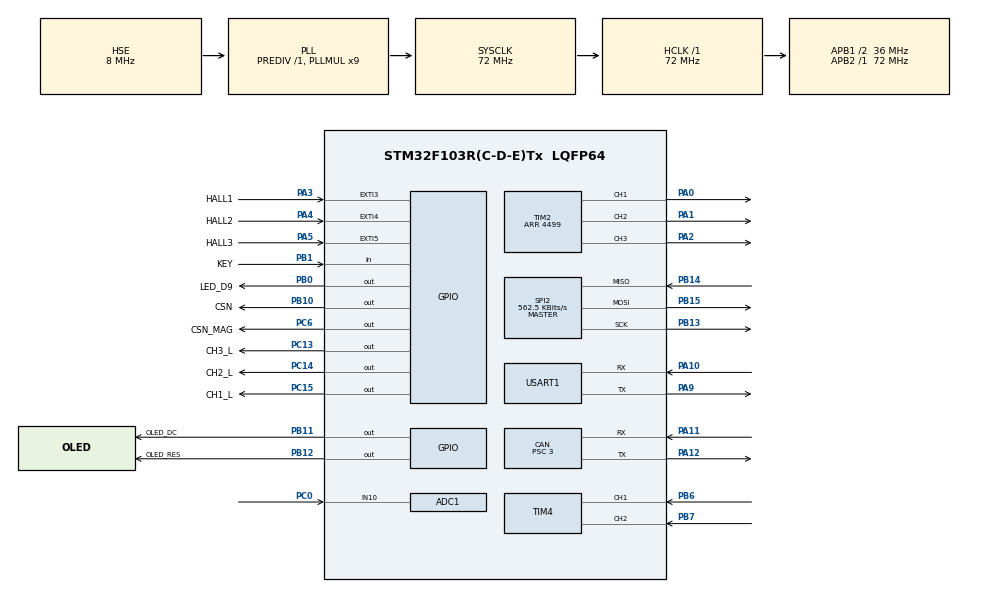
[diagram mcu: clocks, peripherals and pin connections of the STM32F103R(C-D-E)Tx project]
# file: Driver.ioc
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ADC1.Channel-0\#ChannelRegularConversion=ADC_CHANNEL_10
ADC1.NbrOfConversionFlag=1
ADC1.Rank-0\#ChannelRegularConversion=1
ADC1.SamplingTime-0\#ChannelRegularConversion=ADC_SAMPLETIME_1CYCLE_5
ADC1.master=1
CAN.ABOM=ENABLE
CAN.BS1=CAN_BS1_9TQ
CAN.BS2=CAN_BS2_2TQ
CAN.CalculateTimeBit=1000
CAN.CalculateTimeQuantum=83.33333333333334
CAN.Prescaler=3
CAN.TXFP=ENABLE
Dma.Request0=USART1_RX
Dma.Request1=USART1_TX
Dma.USART1_RX.0.Direction=DMA_PERIPH_TO_MEMORY
Dma.USART1_RX.0.Instance=DMA1_Channel5
Dma.USART1_RX.0.MemDataAlignment=DMA_MDATAALIGN_BYTE
Dma.USART1_RX.0.MemInc=DMA_MINC_ENABLE
Dma.USART1_RX.0.Mode=DMA_NORMAL
Dma.USART1_RX.0.PeriphDataAlignment=DMA_PDATAALIGN_BYTE
Dma.USART1_RX.0.PeriphInc=DMA_PINC_DISABLE
Dma.USART1_RX.0.Priority=DMA_PRIORITY_LOW
Dma.USART1_TX.1.Direction=DMA_MEMORY_TO_PERIPH
Dma.USART1_TX.1.Instance=DMA1_Channel4
Dma.USART1_TX.1.MemDataAlignment=DMA_MDATAALIGN_BYTE
Dma.USART1_TX.1.MemInc=DMA_MINC_ENABLE
Dma.USART1_TX.1.Mode=DMA_NORMAL
Dma.USART1_TX.1.PeriphDataAlignment=DMA_PDATAALIGN_BYTE
Dma.USART1_TX.1.PeriphInc=DMA_PINC_DISABLE
Dma.USART1_TX.1.Priority=DMA_PRIORITY_VERY_HIGH
Mcu.Family=STM32F1
Mcu.Name=STM32F103R(C-D-E)Tx
Mcu.Package=LQFP64
NVIC.DMA1_Channel4_IRQn=true\:0\:0\:false\:false\:true\:false
NVIC.DMA1_Channel5_IRQn=true\:0\:0\:false\:false\:true\:false
NVIC.EXTI3_IRQn=true\:1\:0\:true\:true\:true\:1\:true
NVIC.EXTI4_IRQn=true\:1\:0\:true\:true\:true\:2\:true
NVIC.EXTI9_5_IRQn=true\:1\:0\:true\:true\:true\:4\:true
NVIC.PriorityGroup=NVIC_PRIORITYGROUP_4
NVIC.TIM6_IRQn=true\:0\:0\:false\:true\:true\:6\:true
NVIC.USART1_IRQn=true\:1\:0\:true\:true\:true\:5\:true
NVIC.USB_LP_CAN1_RX0_IRQn=true\:1\:0\:true\:true\:true\:3\:true
PA0-WKUP.Signal=S_TIM2_CH1_ETR
PA1.Signal=S_TIM2_CH2
PA10.Mode=Asynchronous
PA10.Signal=USART1_RX
PA11.Mode=Master
PA11.Signal=CAN_RX
PA12.Mode=Master
PA12.Signal=CAN_TX
PA13.Mode=Serial_Wire
PA13.Signal=SYS_JTMS-SWDIO
PA14.Mode=Serial_Wire
PA14.Signal=SYS_JTCK-SWCLK
PA2.Signal=S_TIM2_CH3
PA3.GPIO_Label=HALL1
PA3.GPIO_ModeDefaultEXTI=GPIO_MODE_IT_RISING_FALLING
PA3.Signal=GPXTI3
PA4.GPIO_Label=HALL2
PA4.GPIO_ModeDefaultEXTI=GPIO_MODE_IT_RISING_FALLING
PA4.Signal=GPXTI4
PA5.GPIO_Label=HALL3
PA5.GPIO_ModeDefaultEXTI=GPIO_MODE_IT_RISING_FALLING
PA5.Signal=GPXTI5
PA9.Mode=Asynchronous
PA9.Signal=USART1_TX
PB0.GPIO_Label=LED_D9
PB0.Signal=GPIO_Output
PB1.GPIO_Label=KEY
PB1.GPIO_PuPd=GPIO_PULLUP
PB1.Signal=GPIO_Input
PB10.GPIO_Label=CSN
PB10.Signal=GPIO_Output
PB11.GPIO_Label=OLED_DC
PB11.Signal=GPIO_Output
PB12.GPIO_Label=OLED_RES
PB12.Signal=GPIO_Output
PB13.Mode=Full_Duplex_Master
PB13.Signal=SPI2_SCK
PB14.Mode=Full_Duplex_Master
PB14.Signal=SPI2_MISO
PB15.Mode=Full_Duplex_Master
PB15.Signal=SPI2_MOSI
PB6.Signal=S_TIM4_CH1
PB7.Signal=S_TIM4_CH2
PC0.Signal=ADCx_IN10
PC13-TAMPER-RTC.GPIO_Label=CH3_L
PC13-TAMPER-RTC.Signal=GPIO_Output
PC14-OSC32_IN.GPIO_Label=CH2_L
PC14-OSC32_IN.Signal=GPIO_Output
PC15-OSC32_OUT.GPIO_Label=CH1_L
PC15-OSC32_OUT.Signal=GPIO_Output
PC6.GPIO_Label=CSN_MAG
PC6.Signal=GPIO_Output
PD0-OSC_IN.Mode=HSE-External-Oscillator
PD0-OSC_IN.Signal=RCC_OSC_IN
PD1-OSC_OUT.Mode=HSE-External-Oscillator
PD1-OSC_OUT.Signal=RCC_OSC_OUT
ProjectManager.HeapSize=0x200
ProjectManager.StackSize=0x400
ProjectManager.TargetToolchain=EWARM
RCC.ADCPresc=RCC_ADCPCLK2_DIV6
RCC.AHBFreq_Value=72000000
RCC.APB1CLKDivider=RCC_HCLK_DIV2
RCC.APB1Freq_Value=36000000
RCC.APB1TimFreq_Value=72000000
RCC.APB2Freq_Value=72000000
RCC.APB2TimFreq_Value=72000000
RCC.HCLKFreq_Value=72000000
RCC.PLLMUL=RCC_PLL_MUL9
RCC.PLLSourceVirtual=RCC_PLLSOURCE_HSE
RCC.SYSCLKFreq_VALUE=72000000
RCC.SYSCLKSource=RCC_SYSCLKSOURCE_PLLCLK
RCC.USBFreq_Value=72000000
SH.ADCx_IN10.0=ADC1_IN10,IN10
SH.S_TIM2_CH1_ETR.0=TIM2_CH1,PWM Generation1 CH1
SH.S_TIM2_CH2.0=TIM2_CH2,PWM Generation2 CH2
SH.S_TIM2_CH3.0=TIM2_CH3,PWM Generation3 CH3
SH.S_TIM4_CH1.0=TIM4_CH1,Encoder_Interface
SH.S_TIM4_CH2.0=TIM4_CH2,Encoder_Interface
SPI2.BaudRatePrescaler=SPI_BAUDRATEPRESCALER_64
SPI2.CLKPhase=SPI_PHASE_2EDGE
SPI2.CalculateBaudRate=562.5 KBits/s
SPI2.DataSize=SPI_DATASIZE_16BIT
SPI2.Direction=SPI_DIRECTION_2LINES
SPI2.Mode=SPI_MODE_MASTER
SPI2.VirtualType=VM_MASTER
TIM2.Channel-PWM\ Generation1\ CH1=TIM_CHANNEL_1
TIM2.Channel-PWM\ Generation2\ CH2=TIM_CHANNEL_2
TIM2.Channel-PWM\ Generation3\ CH3=TIM_CHANNEL_3
TIM2.Period=4499
TIM6.Period=999
TIM6.Prescaler=71
TIM7.Period=999
TIM7.Prescaler=71
USART1.VirtualMode=VM_ASYNC
VP_TIM6_VS_ClockSourceINT.Mode=Enable_Timer
VP_TIM7_VS_ClockSourceINT.Mode=Enable_Timer
board=source

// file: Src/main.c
/**
  ******************************************************************************
  * @file           : main.c
  * @brief          : Main program body
  ******************************************************************************
  ** This notice applies to any and all portions of this file
  * that are not between comment pairs USER CODE BEGIN and
  * USER CODE END. Other portions of this file, whether
  * inserted by the user or by software development tools
  * are owned by their respective copyright owners.
  *
  * COPYRIGHT(c) 2019 STMicroelectronics
  *
  * Redistribution and use in source and binary forms, with or without modification,
  * are permitted provided that the following conditions are met:
  *   1. Redistributions of source code must retain the above copyright notice,
  *      this list of conditions and the following disclaimer.
  *   2. Redistributions in binary form must reproduce the above copyright notice,
  *      this list of conditions and the following disclaimer in the documentation
  *      and/or other materials provided with the distribution.
  *   3. Neither the name of STMicroelectronics nor the names of its contributors
  *      may be used to endorse or promote products derived from this software
  *      without specific prior written permission.
  *
  * THIS SOFTWARE IS PROVIDED BY THE COPYRIGHT HOLDERS AND CONTRIBUTORS "AS IS"
  * AND ANY EXPRESS OR IMPLIED WARRANTIES, INCLUDING, BUT NOT LIMITED TO, THE
  * IMPLIED WARRANTIES OF MERCHANTABILITY AND FITNESS FOR A PARTICULAR PURPOSE ARE
  * DISCLAIMED. IN NO EVENT SHALL THE COPYRIGHT HOLDER OR CONTRIBUTORS BE LIABLE
  * FOR ANY DIRECT, INDIRECT, INCIDENTAL, SPECIAL, EXEMPLARY, OR CONSEQUENTIAL
  * DAMAGES (INCLUDING, BUT NOT LIMITED TO, PROCUREMENT OF SUBSTITUTE GOODS OR
  * SERVICES; LOSS OF USE, DATA, OR PROFITS; OR BUSINESS INTERRUPTION) HOWEVER
  * CAUSED AND ON ANY THEORY OF LIABILITY, WHETHER IN CONTRACT, STRICT LIABILITY,
  * OR TORT (INCLUDING NEGLIGENCE OR OTHERWISE) ARISING IN ANY WAY OUT OF THE USE
  * OF THIS SOFTWARE, EVEN IF ADVISED OF THE POSSIBILITY OF SUCH DAMAGE.
  *
  ******************************************************************************
  */
#include "main.h"
#include "stm32f1xx_hal.h"
#include "adc.h"
#include "can.h"
#include "dma.h"
#include "spi.h"
#include "tim.h"
#include "usart.h"
#include "gpio.h"

/* USER CODE BEGIN Includes */
#include "cmd.h"
#include "flash.h"
#include "can_func.h"
#include "motor.h"
#include "utils.h"
#include "board.h"
#include "as5047p.h"
/* USER CODE END Includes */

/* USER CODE BEGIN PV */
/* Private variables ---------------------------------------------------------*/

/* USER CODE END PV */

void SystemClock_Config(void);
static void MX_NVIC_Init(void);

/* USER CODE BEGIN PFP */
/* Private function prototypes -----------------------------------------------*/

/* USER CODE END PFP */

/* USER CODE BEGIN 0 */
int control_flag=0;
/* USER CODE END 0 */

int main(void)
{

  /* MCU Configuration----------------------------------------------------------*/

  /* Reset of all peripherals, Initializes the Flash interface and the Systick. */
  HAL_Init();

  /* Configure the system clock */
  SystemClock_Config();

  /* Initialize all configured peripherals */
  MX_GPIO_Init();
  MX_DMA_Init();
  MX_CAN_Init();
  MX_SPI2_Init();
  MX_TIM2_Init();
  MX_TIM6_Init();
  MX_TIM7_Init();
  MX_TIM4_Init();
  MX_ADC1_Init();
  MX_USART1_UART_Init();

  /* Initialize interrupts */
  MX_NVIC_Init();
  /* USER CODE BEGIN 2 */
  HAL_ADCEx_Calibration_Start(&hadc1);
  //usart_init();
  usart_DMA_init();
  TIM_Mode_init();
  cmd_init();
  Phase_Table_Init();
  load_prams();//������can_init֮ǰ
  can_init();
  PID_init();
  Current_init();
  uprintf("START!\r\n");
  /* USER CODE END 2 */

  /* Infinite loop */
  while (1)
  {

  /* USER CODE BEGIN 3 */

    usart_exc_DMA();

    if((control_flag))
    {
      Control();
    }

    if(Motor==BRUSHLESS_NONSENSOR)
    {
      Mag_Position=as5047p_Get_Position();
      Now_Position=Mag_Position;
      Mag_Brushless_Mointor(Mag_Position);
    }

  }
  /* USER CODE END 3 */

}

void SystemClock_Config(void)
{

  RCC_OscInitTypeDef RCC_OscInitStruct;
  RCC_ClkInitTypeDef RCC_ClkInitStruct;
  RCC_PeriphCLKInitTypeDef PeriphClkInit;

    /**Initializes the CPU, AHB and APB busses clocks
    */
  RCC_OscInitStruct.OscillatorType = RCC_OSCILLATORTYPE_HSE;
  RCC_OscInitStruct.HSEState = RCC_HSE_ON;
  RCC_OscInitStruct.HSEPredivValue = RCC_HSE_PREDIV_DIV1;
  RCC_OscInitStruct.HSIState = RCC_HSI_ON;
  RCC_OscInitStruct.PLL.PLLState = RCC_PLL_ON;
  RCC_OscInitStruct.PLL.PLLSource = RCC_PLLSOURCE_HSE;
  RCC_OscInitStruct.PLL.PLLMUL = RCC_PLL_MUL9;
  if (HAL_RCC_OscConfig(&RCC_OscInitStruct) != HAL_OK)
  {
    _Error_Handler(__FILE__, __LINE__);
  }

    /**Initializes the CPU, AHB and APB busses clocks
    */
  RCC_ClkInitStruct.ClockType = RCC_CLOCKTYPE_HCLK|RCC_CLOCKTYPE_SYSCLK
                              |RCC_CLOCKTYPE_PCLK1|RCC_CLOCKTYPE_PCLK2;
  RCC_ClkInitStruct.SYSCLKSource = RCC_SYSCLKSOURCE_PLLCLK;
  RCC_ClkInitStruct.AHBCLKDivider = RCC_SYSCLK_DIV1;
  RCC_ClkInitStruct.APB1CLKDivider = RCC_HCLK_DIV2;
  RCC_ClkInitStruct.APB2CLKDivider = RCC_HCLK_DIV1;

  if (HAL_RCC_ClockConfig(&RCC_ClkInitStruct, FLASH_LATENCY_2) != HAL_OK)
  {
    _Error_Handler(__FILE__, __LINE__);
  }

  PeriphClkInit.PeriphClockSelection = RCC_PERIPHCLK_ADC;
  PeriphClkInit.AdcClockSelection = RCC_ADCPCLK2_DIV6;
  if (HAL_RCCEx_PeriphCLKConfig(&PeriphClkInit) != HAL_OK)
  {
    _Error_Handler(__FILE__, __LINE__);
  }

    /**Configure the Systick interrupt time
    */
  HAL_SYSTICK_Config(HAL_RCC_GetHCLKFreq()/1000);

    /**Configure the Systick
    */
  HAL_SYSTICK_CLKSourceConfig(SYSTICK_CLKSOURCE_HCLK);

  /* SysTick_IRQn interrupt configuration */
  HAL_NVIC_SetPriority(SysTick_IRQn, 0, 0);
}

/**
  * @brief NVIC Configuration.
  * @retval None
  */
static void MX_NVIC_Init(void)
{
  /* EXTI3_IRQn interrupt configuration */
  HAL_NVIC_SetPriority(EXTI3_IRQn, 1, 0);
  HAL_NVIC_EnableIRQ(EXTI3_IRQn);
  /* EXTI4_IRQn interrupt configuration */
  HAL_NVIC_SetPriority(EXTI4_IRQn, 1, 0);
  HAL_NVIC_EnableIRQ(EXTI4_IRQn);
  /* USB_LP_CAN1_RX0_IRQn interrupt configuration */
  HAL_NVIC_SetPriority(USB_LP_CAN1_RX0_IRQn, 1, 0);
  HAL_NVIC_EnableIRQ(USB_LP_CAN1_RX0_IRQn);
  /* EXTI9_5_IRQn interrupt configuration */
  HAL_NVIC_SetPriority(EXTI9_5_IRQn, 1, 0);
  HAL_NVIC_EnableIRQ(EXTI9_5_IRQn);
  /* USART1_IRQn interrupt configuration */
  HAL_NVIC_SetPriority(USART1_IRQn, 1, 0);
  HAL_NVIC_EnableIRQ(USART1_IRQn);
  /* TIM6_IRQn interrupt configuration */
  HAL_NVIC_SetPriority(TIM6_IRQn, 0, 0);
  HAL_NVIC_EnableIRQ(TIM6_IRQn);
}

/* USER CODE BEGIN 4 */
int current_flag=0;
void HAL_SYSTICK_Callback(void){
}
int clog_cnt = 1;
void HAL_TIM_PeriodElapsedCallback(TIM_HandleTypeDef *htim)
{
  if (htim->Instance == htim6.Instance)//1000Hz
  {
    static int time_1ms_cnt;
    time_1ms_cnt++;
    if(time_1ms_cnt%5 == 0){
      Get_Current(100);//current
      Get_SP(); //speed&position
      if(control_flag==0)
      {
        control_flag=1;
      }
    }

    if(time_1ms_cnt%5 == 0){
      if(Now_Current>4)
        current_flag++;
      else
        current_flag=0;
      if(current_flag>4){
        Close_Phases();
        Motor_Duty = 0;
        uprintf("high current!\r\n");
      }
      if (send_wave_flag == 1)
      {
        send_wave((float)Now_Current,(float)Target_Current,(float)Current_PID.i,(float)Motor_Duty);
      }
      else if(send_wave_flag == 2)
      {
        send_wave((float)Now_Speed,(float)Target_Speed,(float)Now_Current,(float)Target_Current);
      }
      else if (send_wave_flag == 3)
      {
        send_wave((float)Now_Position,(float)Target_Position,(float)Now_Speed,(float)Target_Speed);
      }
    }

    if(time_1ms_cnt >= 65533){
      time_1ms_cnt = 0;
    }

    //��ˢ��ֹ��סģ��
    if(Motor==BRUSH||Board_Mode!=NORMAL)
      return;

    if(Motor==BRUSHLESS){
      if(Motor_Duty_Set<7)
      {
        Motor_Duty_Set=0;
        Motor_Duty=0;
        return ;
      }
    }

    if(Motor_Duty_Set==0)
      return;

    Phase_Open_Cnt++;
    if(Phase_Open_Cnt>OPEN_TIME_MAX)
    {
      //if(setup_once_flag==0)
      //  return;
      Close_Phases();
      Phase_Open_Cnt=0;
      uprintf("close phases because too long!\r\n");
      if(Motor==BRUSHLESS)
      {
        uprintf("now position is %d\r\n",Hall_Position);
        uprintf("now duty is %f\r\n",Motor_Duty);
        uprintf("now duty set is %f\r\n",Motor_Duty_Set);
        uprintf("Now_Position is %f\r\n",Now_Position);
        uprintf("clog_cnt is %d\r\n", clog_cnt);
        if(Motor_Duty_Set!=Motor_Duty)
          Motor_Duty = Motor_Duty_Set;
        Phase_Change(Phase_Table_Using_Sensor[(Hall_Position+clog_cnt)%6],Motor_Duty);   //��ֹ��ס�����ҽ���������
      }
      else if(Motor==BRUSHLESS_NONSENSOR)
      {
        if(Motor_Duty_Set!=Motor_Duty)
          Motor_Duty = Motor_Duty_Set;
        Phase_Change(Phase_Table_Using_Nonsensor[(Phase_Change_Cnt+clog_cnt)%6],Motor_Duty);
      }
      clog_cnt++;
      if(clog_cnt>6)
        clog_cnt =1;
      //setup_once_flag = 0;
    }

  }
}
/* USER CODE END 4 */

void _Error_Handler(char *file, int line)
{
  /* USER CODE BEGIN Error_Handler_Debug */
  /* User can add his own implementation to report the HAL error return state */
  uprintf("ERROR HANDLER!!!!\r\n");
  while(1)
  {

  }
  /* USER CODE END Error_Handler_Debug */
}

/************************ (C) COPYRIGHT STMicroelectronics *****END OF FILE****/
